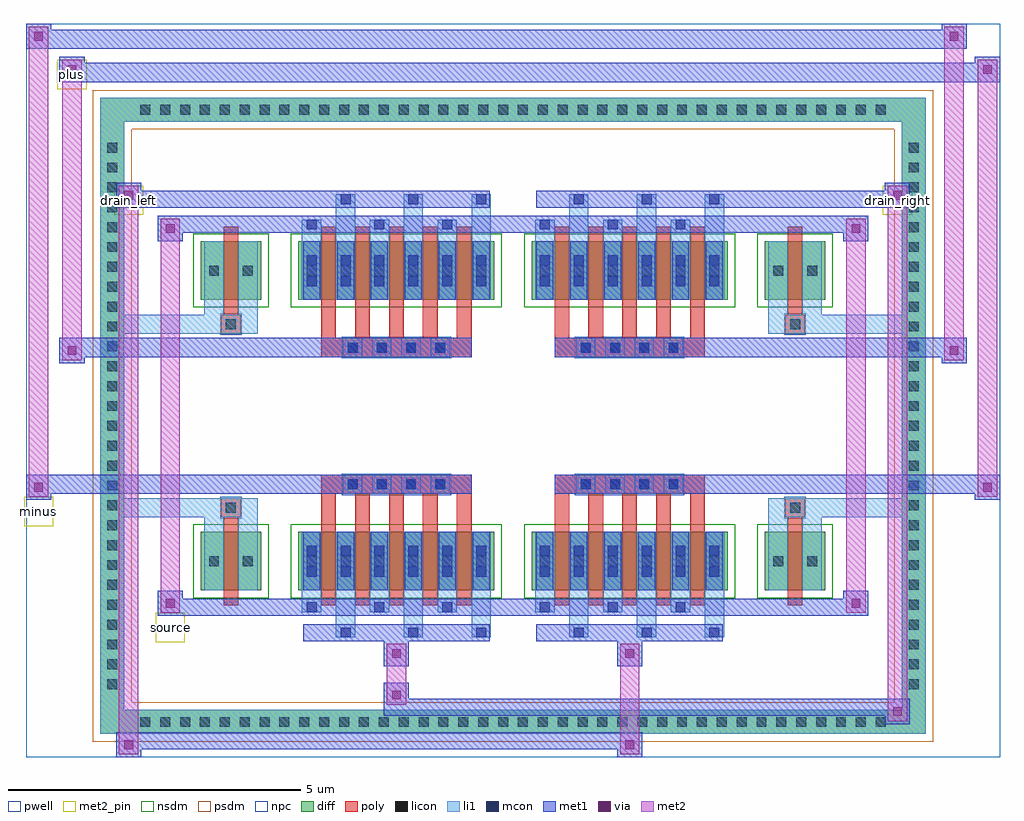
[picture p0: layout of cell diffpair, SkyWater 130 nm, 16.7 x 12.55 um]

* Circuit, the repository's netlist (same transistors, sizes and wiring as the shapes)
* NGSPICE file created from diffpair.ext - technology: sky130A

.subckt diffpair minus drain_right drain_left source plus
X0 source plus drain_left a_n1412_n1088# sky130_fd_pr__nfet_01v8 ad=0.165 pd=1.33 as=0.165 ps=1.33 w=1 l=0.25
X1 source plus drain_left a_n1412_n1088# sky130_fd_pr__nfet_01v8 ad=0.165 pd=1.33 as=0.165 ps=1.33 w=1 l=0.25
X2 drain_right minus source a_n1412_n1088# sky130_fd_pr__nfet_01v8 ad=0.165 pd=1.33 as=0.165 ps=1.33 w=1 l=0.25
X3 source minus drain_right a_n1412_n1088# sky130_fd_pr__nfet_01v8 ad=0.165 pd=1.33 as=0.165 ps=1.33 w=1 l=0.25
X4 a_n1412_n1088# a_n1412_n1088# a_n1412_n1088# a_n1412_n1088# sky130_fd_pr__nfet_01v8 ad=0.39 pd=2.78 as=3.12 ps=22.24 w=1 l=0.25
X5 source minus drain_right a_n1412_n1088# sky130_fd_pr__nfet_01v8 ad=0.165 pd=1.33 as=0.165 ps=1.33 w=1 l=0.25
X6 drain_right minus source a_n1412_n1088# sky130_fd_pr__nfet_01v8 ad=0.165 pd=1.33 as=0.39 ps=2.78 w=1 l=0.25
X7 drain_right minus source a_n1412_n1088# sky130_fd_pr__nfet_01v8 ad=0.39 pd=2.78 as=0.165 ps=1.33 w=1 l=0.25
X8 drain_left plus source a_n1412_n1088# sky130_fd_pr__nfet_01v8 ad=0.39 pd=2.78 as=0.165 ps=1.33 w=1 l=0.25
X9 source plus drain_left a_n1412_n1088# sky130_fd_pr__nfet_01v8 ad=0.165 pd=1.33 as=0.165 ps=1.33 w=1 l=0.25
X10 drain_left plus source a_n1412_n1088# sky130_fd_pr__nfet_01v8 ad=0.165 pd=1.33 as=0.39 ps=2.78 w=1 l=0.25
X11 drain_left plus source a_n1412_n1088# sky130_fd_pr__nfet_01v8 ad=0.165 pd=1.33 as=0.165 ps=1.33 w=1 l=0.25
X12 drain_left plus source a_n1412_n1088# sky130_fd_pr__nfet_01v8 ad=0.39 pd=2.78 as=0.165 ps=1.33 w=1 l=0.25
X13 a_n1412_n1088# a_n1412_n1088# a_n1412_n1088# a_n1412_n1088# sky130_fd_pr__nfet_01v8 ad=0.39 pd=2.78 as=0 ps=0 w=1 l=0.25
X14 a_n1412_n1088# a_n1412_n1088# a_n1412_n1088# a_n1412_n1088# sky130_fd_pr__nfet_01v8 ad=0.39 pd=2.78 as=0 ps=0 w=1 l=0.25
X15 drain_left plus source a_n1412_n1088# sky130_fd_pr__nfet_01v8 ad=0.165 pd=1.33 as=0.39 ps=2.78 w=1 l=0.25
X16 drain_right minus source a_n1412_n1088# sky130_fd_pr__nfet_01v8 ad=0.165 pd=1.33 as=0.165 ps=1.33 w=1 l=0.25
X17 drain_right minus source a_n1412_n1088# sky130_fd_pr__nfet_01v8 ad=0.165 pd=1.33 as=0.39 ps=2.78 w=1 l=0.25
X18 drain_left plus source a_n1412_n1088# sky130_fd_pr__nfet_01v8 ad=0.165 pd=1.33 as=0.165 ps=1.33 w=1 l=0.25
X19 source plus drain_left a_n1412_n1088# sky130_fd_pr__nfet_01v8 ad=0.165 pd=1.33 as=0.165 ps=1.33 w=1 l=0.25
X20 drain_right minus source a_n1412_n1088# sky130_fd_pr__nfet_01v8 ad=0.39 pd=2.78 as=0.165 ps=1.33 w=1 l=0.25
X21 a_n1412_n1088# a_n1412_n1088# a_n1412_n1088# a_n1412_n1088# sky130_fd_pr__nfet_01v8 ad=0.39 pd=2.78 as=0 ps=0 w=1 l=0.25
X22 source minus drain_right a_n1412_n1088# sky130_fd_pr__nfet_01v8 ad=0.165 pd=1.33 as=0.165 ps=1.33 w=1 l=0.25
X23 source minus drain_right a_n1412_n1088# sky130_fd_pr__nfet_01v8 ad=0.165 pd=1.33 as=0.165 ps=1.33 w=1 l=0.25
.ends

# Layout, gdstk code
import gdstk
lib = gdstk.Library(unit=1e-6, precision=5e-09)
def R(c, l, rs):  # rectangles x0, y0, x1, y1
    for r in rs: c.add(gdstk.rectangle(r[:2], r[2:], *l))
def A(c, l, x, y, w, h, nx, ny, dx, dy):  # array of equal rectangles
    R(c, l, [(x+i*dx, y+j*dy, x+i*dx+w, y+j*dy+h) for i in range(nx) for j in range(ny)])
def P(c, l, *ps):  # polygons
    for p in ps: c.add(gdstk.Polygon(p, *l))
pwell = (64, 44)
diff = (65, 20)
poly = (66, 20)
licon = (66, 44)
li1 = (67, 20)
mcon = (67, 44)
met1 = (68, 20)
via = (68, 44)
met2_pin = (69, 16)
met2 = (69, 20)
nsdm = (93, 44)
psdm = (94, 20)
npc = (95, 20)

diffpair = lib.new_cell('diffpair')
R(diffpair, pwell, [(-8.33,-5.84,8.33,6.71), (-5.65,-4.03,-0.01,-0.805), (0.01,-4.03,5.65,-0.805), (-5.65,0.805,-0.01,4.03), (0.01,0.805,5.65,4.03)])
A(diffpair, diff, -6.495, -5.44, 0.41, 0.41, 38, 2, 0.34, 10.47)
A(diffpair, diff, -7.06, -4.795, 0.41, 0.41, 1, 28, 0, 0.34)
A(diffpair, diff, 6.65, -4.795, 0.41, 0.41, 1, 28, 0, 0.34)
R(diffpair, diff, [(-6.495,-5.44,6.495,-5.03), (-7.06,-4.795,-6.65,4.795), (6.65,-4.795,7.06,4.795), (-5.34,-2.985,-4.31,-1.985), (-3.67,-2.985,-0.32,-1.985), (0.32,-2.985,3.67,-1.985), (4.31,-2.985,5.34,-1.985), (-5.34,1.985,-4.31,2.985), (-3.67,1.985,-0.32,2.985), (0.32,1.985,3.67,2.985), (4.31,1.985,5.34,2.985), (-6.495,5.03,6.495,5.44)])
P(diffpair, diff, [(7.06,5.44),(-7.06,5.44),(-7.06,-5.03),(-6.65,-5.03),(-6.65,5.03),(6.65,5.03),(6.65,-5.03),(-6.65,-5.03),(-7.06,-5.03),(-7.06,-5.44),(7.06,-5.44)])
A(diffpair, poly, -3.28, -3.235, 0.25, 1.5, 5, 2, 0.58, 4.97)
A(diffpair, poly, 0.71, -3.235, 0.25, 1.5, 5, 2, 0.58, 4.97)
A(diffpair, poly, -3.28, -1.735, 0.25, 0.4, 5, 2, 0.58, 3.07)
A(diffpair, poly, 0.71, -1.735, 0.25, 0.4, 5, 2, 0.58, 3.07)
A(diffpair, poly, -2.91, -1.335, 0.33, 0.33, 4, 2, 0.5, 2.34)
A(diffpair, poly, 1.08, -1.335, 0.33, 0.33, 4, 2, 0.5, 2.34)
R(diffpair, poly, [(-4.95,-3.235,-4.7,-1.735), (4.7,-3.235,4.95,-1.735), (-4.99,-1.735,-4.66,-1.405), (-4.99,-1.735,-4.66,-1.405), (4.66,-1.735,4.99,-1.405), (4.66,-1.735,4.99,-1.405), (-3.28,-1.335,-0.71,-1.005), (0.71,-1.335,3.28,-1.005), (-3.28,1.005,-0.71,1.335), (0.71,1.005,3.28,1.335), (-4.99,1.405,-4.66,1.735), (-4.99,1.405,-4.66,1.735), (4.66,1.405,4.99,1.735), (4.66,1.405,4.99,1.735), (-4.95,1.735,-4.7,3.235), (4.7,1.735,4.95,3.235)])
A(diffpair, licon, -6.375, -5.32, 0.17, 0.17, 38, 2, 0.34, 10.47)
A(diffpair, licon, -6.94, -4.675, 0.17, 0.17, 1, 28, 0, 0.34)
A(diffpair, licon, 6.77, -4.675, 0.17, 0.17, 1, 28, 0, 0.34)
A(diffpair, licon, -3.53, -2.57, 0.17, 0.17, 6, 2, 0.58, 4.97)
A(diffpair, licon, 0.46, -2.57, 0.17, 0.17, 6, 2, 0.58, 4.97)
A(diffpair, licon, -2.83, -1.255, 0.17, 0.17, 4, 2, 0.5, 2.34)
A(diffpair, licon, 1.16, -1.255, 0.17, 0.17, 4, 2, 0.5, 2.34)
R(diffpair, licon, [(-5.2,-2.57,-5.03,-2.4), (-4.62,-2.57,-4.45,-2.4), (4.45,-2.57,4.62,-2.4), (5.03,-2.57,5.2,-2.4), (-4.91,-1.655,-4.74,-1.485), (4.74,-1.655,4.91,-1.485), (-4.91,1.485,-4.74,1.655), (4.74,1.485,4.91,1.655), (-5.2,2.4,-5.03,2.57), (-4.62,2.4,-4.45,2.57), (4.45,2.4,4.62,2.57), (5.03,2.4,5.2,2.57)])
A(diffpair, li1, -6.455, -5.4, 0.33, 0.33, 38, 2, 0.34, 10.47)
A(diffpair, li1, -7.02, -4.755, 0.33, 0.33, 1, 28, 0, 0.34)
A(diffpair, li1, 6.69, -4.755, 0.33, 0.33, 1, 28, 0, 0.34)
A(diffpair, li1, -3.03, -3.79, 0.33, 0.805, 3, 2, 1.16, 6.775)
A(diffpair, li1, -2.95, -3.79, 0.17, 0.17, 3, 2, 1.16, 7.41)
A(diffpair, li1, 0.96, -3.79, 0.33, 0.805, 3, 2, 1.16, 6.775)
A(diffpair, li1, 1.04, -3.79, 0.17, 0.17, 3, 2, 1.16, 7.41)
A(diffpair, li1, -3.61, -3.36, 0.33, 0.375, 3, 2, 1.16, 6.345)
A(diffpair, li1, -3.53, -3.36, 0.17, 0.17, 3, 2, 1.16, 6.55)
A(diffpair, li1, 0.38, -3.36, 0.33, 0.375, 3, 2, 1.16, 6.345)
A(diffpair, li1, 0.46, -3.36, 0.17, 0.17, 3, 2, 1.16, 6.55)
A(diffpair, li1, -3.61, -2.985, 0.33, 1, 6, 2, 0.58, 4.97)
A(diffpair, li1, 0.38, -2.985, 0.33, 1, 6, 2, 0.58, 4.97)
A(diffpair, li1, -3.53, -2.75, 0.17, 0.17, 6, 2, 0.58, 0.36)
A(diffpair, li1, -3.53, -2.75, 0.17, 0.53, 6, 2, 0.58, 4.97)
A(diffpair, li1, 0.46, -2.75, 0.17, 0.17, 6, 2, 0.58, 0.36)
A(diffpair, li1, 0.46, -2.75, 0.17, 0.53, 6, 2, 0.58, 4.97)
A(diffpair, li1, -3.61, -2.65, 0.33, 0.33, 6, 2, 0.58, 4.97)
A(diffpair, li1, 0.38, -2.65, 0.33, 0.33, 6, 2, 0.58, 4.97)
A(diffpair, li1, -2.91, -1.335, 0.33, 0.33, 4, 2, 0.5, 2.34)
A(diffpair, li1, 1.08, -1.335, 0.33, 0.33, 4, 2, 0.5, 2.34)
A(diffpair, li1, -3.53, 2.22, 0.17, 0.17, 6, 2, 0.58, 0.36)
A(diffpair, li1, 0.46, 2.22, 0.17, 0.17, 6, 2, 0.58, 0.36)
R(diffpair, li1, [(-7.06,-5.44,-6.65,-5.03), (-7.06,-5.44,-6.65,-5.03), (-6.65,-5.44,6.65,-5.03), (6.65,-5.44,7.06,-5.03), (6.65,-5.44,7.06,-5.03), (-7.06,-5.03,-6.65,5.03), (6.65,-5.03,7.06,5.03), (-5.28,-2.985,-4.95,-1.985), (-4.7,-2.985,-4.37,-1.985), (4.37,-2.985,4.7,-1.985), (4.95,-2.985,5.28,-1.985), (-5.28,-2.65,-4.95,-2.32), (-4.7,-2.65,-4.37,-2.32), (4.37,-2.65,4.7,-2.32), (4.95,-2.65,5.28,-2.32), (-5.28,-1.985,-4.95,-1.405), (-4.7,-1.985,-4.37,-1.405), (4.37,-1.985,4.7,-1.405), (4.95,-1.985,5.28,-1.405), (-7.06,-1.735,-4.99,-1.405), (-5.28,-1.735,-4.99,-1.405), (-4.99,-1.735,-4.66,-1.405), (-4.66,-1.735,-4.37,-1.405), (4.37,-1.735,4.66,-1.405), (4.66,-1.735,4.99,-1.405), (4.66,-1.735,7.06,-1.405), (4.99,-1.735,5.28,-1.405), (-7.06,1.405,-4.99,1.735), (-5.28,1.405,-4.99,1.735), (-5.28,1.405,-4.95,1.985), (-4.99,1.405,-4.66,1.735), (-4.7,1.405,-4.37,1.985), (-4.66,1.405,-4.37,1.735), (4.37,1.405,4.66,1.735), (4.37,1.405,4.7,1.985), (4.66,1.405,4.99,1.735), (4.66,1.405,7.06,1.735), (4.95,1.405,5.28,1.985), (4.99,1.405,5.28,1.735), (-5.28,1.985,-4.95,2.985), (-4.7,1.985,-4.37,2.985), (4.37,1.985,4.7,2.985), (4.95,1.985,5.28,2.985), (-5.28,2.32,-4.95,2.65), (-4.7,2.32,-4.37,2.65), (4.37,2.32,4.7,2.65), (4.95,2.32,5.28,2.65), (-7.06,5.03,-6.65,5.44), (-7.06,5.03,-6.65,5.44), (-6.65,5.03,6.65,5.44), (6.65,5.03,7.06,5.44), (6.65,5.03,7.06,5.44)])
A(diffpair, mcon, -2.95, -3.79, 0.17, 0.17, 3, 2, 1.16, 7.41)
A(diffpair, mcon, 1.04, -3.79, 0.17, 0.17, 3, 2, 1.16, 7.41)
A(diffpair, mcon, -3.53, -3.36, 0.17, 0.17, 3, 2, 1.16, 6.55)
A(diffpair, mcon, 0.46, -3.36, 0.17, 0.17, 3, 2, 1.16, 6.55)
A(diffpair, mcon, -3.53, -2.75, 0.17, 0.17, 6, 2, 0.58, 0.36)
A(diffpair, mcon, 0.46, -2.75, 0.17, 0.17, 6, 2, 0.58, 0.36)
A(diffpair, mcon, -2.83, -1.255, 0.17, 0.17, 4, 2, 0.5, 2.34)
A(diffpair, mcon, 1.16, -1.255, 0.17, 0.17, 4, 2, 0.5, 2.34)
A(diffpair, mcon, -3.53, 2.22, 0.17, 0.17, 6, 2, 0.58, 0.36)
A(diffpair, mcon, 0.46, 2.22, 0.17, 0.17, 6, 2, 0.58, 0.36)
A(diffpair, met1, -3.01, -3.85, 0.29, 0.29, 3, 2, 1.16, 7.41)
A(diffpair, met1, 0.98, -3.85, 0.29, 0.29, 3, 2, 1.16, 7.41)
A(diffpair, met1, -3.59, -3.42, 0.29, 0.29, 3, 2, 1.16, 6.55)
A(diffpair, met1, 0.4, -3.42, 0.29, 0.29, 3, 2, 1.16, 6.55)
A(diffpair, met1, -3.59, -2.985, 0.29, 1, 6, 2, 0.58, 4.97)
A(diffpair, met1, 0.4, -2.985, 0.29, 1, 6, 2, 0.58, 4.97)
A(diffpair, met1, -3.59, -2.81, 0.29, 0.29, 6, 2, 0.58, 0.36)
A(diffpair, met1, 0.4, -2.81, 0.29, 0.29, 6, 2, 0.58, 0.36)
A(diffpair, met1, -2.89, -1.315, 0.29, 0.29, 4, 2, 0.5, 2.34)
A(diffpair, met1, 1.1, -1.315, 0.29, 0.29, 4, 2, 0.5, 2.34)
A(diffpair, met1, -3.59, 2.16, 0.29, 0.29, 6, 2, 0.58, 0.36)
A(diffpair, met1, 0.4, 2.16, 0.29, 0.29, 6, 2, 0.58, 0.36)
R(diffpair, met1, [(-6.79,-5.84,-6.36,-5.41), (1.78,-5.84,2.21,-5.41), (-6.79,-5.7,2.21,-5.41), (6.36,-5.27,6.79,-4.84), (-2.21,-5.13,6.79,-4.84), (-2.21,-4.99,-1.78,-4.56), (-2.21,-4.28,-1.78,-3.85), (1.78,-4.28,2.21,-3.85), (-3.59,-3.85,-0.4,-3.56), (0.4,-3.85,3.59,-3.56), (-6.08,-3.42,-5.65,-2.99), (-6.08,-3.42,-3.59,-3.13), (-3.59,-3.42,-0.4,-3.13), (-0.4,-3.42,0.4,-3.13), (0.4,-3.42,3.59,-3.13), (3.59,-3.42,6.08,-3.13), (5.65,-3.42,6.08,-2.99), (-8.33,-1.435,-7.9,-1.005), (7.9,-1.435,8.33,-1.005), (-8.33,-1.335,-0.71,-1.005), (-3.28,-1.335,-0.71,-1.005), (0.71,-1.335,3.28,-1.005), (0.71,-1.335,8.33,-1.005), (-7.76,0.905,-7.33,1.335), (7.33,0.905,7.76,1.335), (-7.76,1.005,-3.28,1.335), (-3.28,1.005,-0.71,1.335), (0.71,1.005,3.28,1.335), (3.28,1.005,7.76,1.335), (-6.08,2.99,-5.65,3.42), (5.65,2.99,6.08,3.42), (-6.08,3.13,-3.59,3.42), (-3.59,3.13,-0.4,3.42), (-0.4,3.13,0.4,3.42), (0.4,3.13,3.59,3.42), (3.59,3.13,6.08,3.42), (-6.79,3.56,-6.36,3.99), (-6.79,3.56,-3.59,3.85), (-3.59,3.56,-0.4,3.85), (0.4,3.56,3.59,3.85), (3.59,3.56,6.79,3.85), (6.36,3.56,6.79,3.99), (-7.76,5.71,-7.33,6.14), (-7.76,5.71,-5.65,6.04), (-5.65,5.71,5.65,6.04), (5.65,5.71,8.33,6.04), (7.9,5.71,8.33,6.14), (-8.33,6.28,-7.9,6.71), (-8.33,6.28,-5.65,6.61), (-5.65,6.28,5.65,6.61), (5.65,6.28,7.76,6.61), (7.33,6.28,7.76,6.71)])
R(diffpair, via, [(-6.65,-5.7,-6.5,-5.55), (1.92,-5.7,2.07,-5.55), (6.5,-5.13,6.65,-4.98), (-2.07,-4.85,-1.92,-4.7), (-2.07,-4.14,-1.92,-3.99), (1.92,-4.14,2.07,-3.99), (-5.94,-3.28,-5.79,-3.13), (5.79,-3.28,5.94,-3.13), (-8.19,-1.295,-8.04,-1.145), (8.04,-1.295,8.19,-1.145), (-7.62,1.045,-7.47,1.195), (7.47,1.045,7.62,1.195), (-5.94,3.13,-5.79,3.28), (5.79,3.13,5.94,3.28), (-6.65,3.7,-6.5,3.85), (6.5,3.7,6.65,3.85), (-7.62,5.85,-7.47,6), (8.04,5.85,8.19,6), (-8.19,6.42,-8.04,6.57), (7.47,6.42,7.62,6.57)])
R(diffpair, met2_pin, [(-6.115,-3.87,-5.615,-3.37), (-8.365,-1.885,-7.865,-1.385), (-6.825,3.44,-6.325,3.94), (6.325,3.44,6.825,3.94), (-7.795,5.59,-7.295,6.09)])
R(diffpair, met2, [(-6.74,-5.79,-6.41,-5.46), (-6.74,-5.79,-6.41,3.94), (1.83,-5.79,2.16,-5.46), (1.83,-5.46,2.16,-4.23), (6.41,-5.22,6.74,-4.89), (6.41,-5.22,6.74,3.94), (-2.16,-4.94,-1.83,-4.61), (-2.16,-4.61,-1.83,-4.23), (-2.16,-4.23,-1.83,-3.9), (1.83,-4.23,2.16,-3.9), (-6.03,-3.37,-5.7,-3.04), (-6.03,-3.37,-5.7,3.37), (5.7,-3.37,6.03,-3.04), (5.7,-3.37,6.03,3.37), (-8.28,-1.385,-7.95,-1.055), (-8.28,-1.385,-7.95,6.66), (7.95,-1.385,8.28,-1.055), (7.95,-1.385,8.28,6.09), (-7.71,0.955,-7.38,1.285), (-7.71,0.955,-7.38,6.09), (7.38,0.955,7.71,1.285), (7.38,0.955,7.71,6.66), (-6.03,3.04,-5.7,3.37), (5.7,3.04,6.03,3.37), (-6.74,3.61,-6.41,3.94), (6.41,3.61,6.74,3.94), (-7.71,5.76,-7.38,6.09), (7.95,5.76,8.28,6.09), (-8.28,6.33,-7.95,6.66), (7.38,6.33,7.71,6.66)])
P(diffpair, met2, [(8.28,-1.385),(8.28,-1.385),(8.28,-1.055),(8.28,-1.055)],
  [(8.28,5.76),(8.28,5.76),(8.28,6.09),(8.28,6.09)],
  [(-7.95,-1.385),(-7.95,-1.385),(-7.95,-1.055),(-7.95,-1.055)],
  [(-7.95,6.33),(-7.95,6.33),(-7.95,6.66),(-7.95,6.66)],
  [(7.71,0.955),(7.71,0.955),(7.71,1.285),(7.71,1.285)],
  [(7.71,6.33),(7.71,6.33),(7.71,6.66),(7.71,6.66)],
  [(-7.38,0.955),(-7.38,0.955),(-7.38,1.285),(-7.38,1.285)],
  [(-7.38,5.76),(-7.38,5.76),(-7.38,6.09),(-7.38,6.09)],
  [(-6.41,-5.79),(-6.41,-5.79),(-6.41,-5.46),(-6.41,-5.46)],
  [(-6.41,3.61),(-6.41,3.61),(-6.41,3.94),(-6.41,3.94)],
  [(6.74,-5.22),(6.74,-5.22),(6.74,-4.89),(6.74,-4.89)],
  [(6.74,3.61),(6.74,3.61),(6.74,3.94),(6.74,3.94)],
  [(-5.7,-3.37),(-5.7,-3.37),(-5.7,-3.04),(-5.7,-3.04)],
  [(-5.7,3.04),(-5.7,3.04),(-5.7,3.37),(-5.7,3.37)],
  [(6.03,-3.37),(6.03,-3.37),(6.03,-3.04),(6.03,-3.04)],
  [(6.03,3.04),(6.03,3.04),(6.03,3.37),(6.03,3.37)])
R(diffpair, nsdm, [(-5.47,-3.115,-4.18,-1.855), (-3.8,-3.115,-0.19,-1.855), (0.19,-3.115,3.8,-1.855), (4.18,-3.115,5.47,-1.855), (-5.47,1.855,-4.18,3.115), (-3.8,1.855,-0.19,3.115), (0.19,1.855,3.8,3.115), (4.18,1.855,5.47,3.115)])
P(diffpair, psdm, [(7.19,5.57),(-7.19,5.57),(-7.19,-4.9),(-6.52,-4.9),(-6.52,4.9),(6.52,4.9),(6.52,-4.9),(-6.52,-4.9),(-7.19,-4.9),(-7.19,-5.57),(7.19,-5.57)])
A(diffpair, npc, -2.93, -1.355, 0.37, 0.37, 4, 2, 0.5, 2.34)
A(diffpair, npc, 1.06, -1.355, 0.37, 0.37, 4, 2, 0.5, 2.34)
R(diffpair, npc, [(-5.01,-1.755,-4.64,-1.385), (4.64,-1.755,5.01,-1.385), (-2.93,-1.355,-2.06,-0.985), (-2.93,-1.355,-2.06,-0.985), (-2.43,-1.355,-1.56,-0.985), (-2.43,-1.355,-1.56,-0.985), (-1.93,-1.355,-1.06,-0.985), (-1.93,-1.355,-1.06,-0.985), (1.06,-1.355,1.93,-0.985), (1.06,-1.355,1.93,-0.985), (1.56,-1.355,2.43,-0.985), (1.56,-1.355,2.43,-0.985), (2.06,-1.355,2.93,-0.985), (2.06,-1.355,2.93,-0.985), (-2.93,0.985,-2.06,1.355), (-2.93,0.985,-2.06,1.355), (-2.43,0.985,-1.56,1.355), (-2.43,0.985,-1.56,1.355), (-1.93,0.985,-1.06,1.355), (-1.93,0.985,-1.06,1.355), (1.06,0.985,1.93,1.355), (1.06,0.985,1.93,1.355), (1.56,0.985,2.43,1.355), (1.56,0.985,2.43,1.355), (2.06,0.985,2.93,1.355), (2.06,0.985,2.93,1.355), (-5.01,1.385,-4.64,1.755), (4.64,1.385,5.01,1.755)])
diffpair.add(gdstk.Label('minus', (-8.115,-1.635), layer=69, texttype=5))
diffpair.add(gdstk.Label('drain_right', (6.575,3.69), layer=69, texttype=5))
diffpair.add(gdstk.Label('drain_left', (-6.575,3.69), layer=69, texttype=5))
diffpair.add(gdstk.Label('source', (-5.865,-3.62), layer=69, texttype=5))
diffpair.add(gdstk.Label('plus', (-7.545,5.84), layer=69, texttype=5))

lib.write_gds('diffpair.gds')
